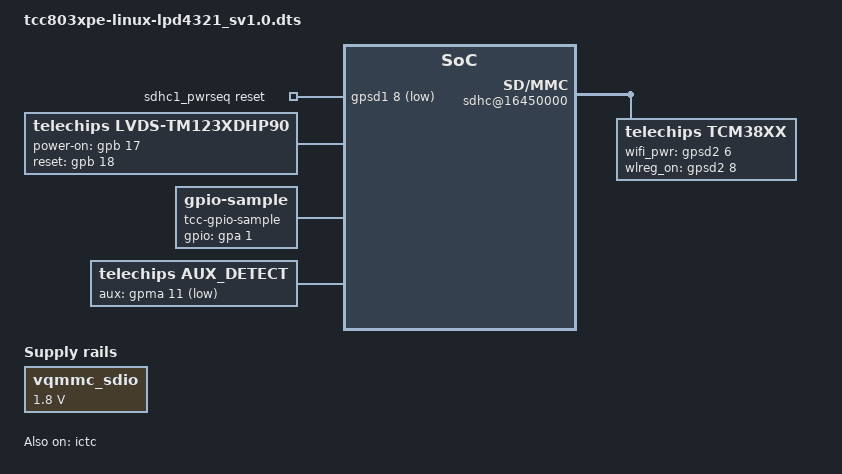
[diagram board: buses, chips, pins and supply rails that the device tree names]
/*
 * Device tree for Telechips TCC8031 AVN board
 *
 * Copyright (C) 2018 Telechips Inc. - http://www.telechips.com
 *
 * This file is dual-licensed: you can use it either under the terms
 * of the GPL or the X11 license, at your option. Note that this dual
 * licensing only applies to this file, and not this project as a
 * whole.
 *
 *  a) This file is free software; you can redistribute it and/or
 *     modify it under the terms of the GNU General Public License as
 *     published by the Free Software Foundation; either version 2 of the
 *     License, or (at your option) any later version.
 *
 *     This file is distributed in the hope that it will be useful,
 *     but WITHOUT ANY WARRANTY; without even the implied warranty of
 *     MERCHANTABILITY or FITNESS FOR A PARTICULAR PURPOSE.  See the
 *     GNU General Public License for more details.
 *
 * Or, alternatively,
 *
 *  b) Permission is hereby granted, free of charge, to any person
 *     obtaining a copy of this software and associated documentation
 *     files (the "Software"), to deal in the Software without
 *     restriction, including without limitation the rights to use,
 *     copy, modify, merge, publish, distribute, sublicense, and/or
 *     sell copies of the Software, and to permit persons to whom the
 *     Software is furnished to do so, subject to the following
 *     conditions:
 *
 *     The above copyright notice and this permission notice shall be
 *     included in all copies or substantial portions of the Software.
 *
 *     THE SOFTWARE IS PROVIDED "AS IS", WITHOUT WARRANTY OF ANY KIND,
 *     EXPRESS OR IMPLIED, INCLUDING BUT NOT LIMITED TO THE WARRANTIES
 *     OF MERCHANTABILITY, FITNESS FOR A PARTICULAR PURPOSE AND
 *     NONINFRINGEMENT. IN NO EVENT SHALL THE AUTHORS OR COPYRIGHT
 *     HOLDERS BE LIABLE FOR ANY CLAIM, DAMAGES OR OTHER LIABILITY,
 *     WHETHER IN AN ACTION OF CONTRACT, TORT OR OTHERWISE, ARISING
 *     FROM, OUT OF OR IN CONNECTION WITH THE SOFTWARE OR THE USE OR
 *     OTHER DEALINGS IN THE SOFTWARE.
 */

/dts-v1/;

#include "tcc803xpe-linux-ivi.dtsi"

/* Definition for H/W LCD ports */
#define LCD_PORT1_PWR "gpa-21"
#define LCD_PORT1_RST "gpg-6"
#define LCD_PORT1_BLK "gph-6"

#define LCD_PORT2_PWR "gpma-28"
#define LCD_PORT2_RST "gpc-12"
#define LCD_PORT2_BLK "gph-7"

#define LCD_PORT4_PWR "gpmc-23"
#define LCD_PORT4_RST "gpmc-25"
#define LCD_PORT4_BLK "gpmc-21"
#include "tcc803xpe-linux-ivi-display.dtsi"

/ {
	/* Describe here after remove this statement if you have something to be override. */
	/* SD CARD */
	sdhc1_pwrseq: sdhc1_pwrseq {
		compatible = "mmc-pwrseq-simple";
		reset-gpios = <&gpsd1 8 GPIO_ACTIVE_LOW>;
	};

	/* SDIO */
	vqmmc_sdio: vqmmc_sdio {
		compatible = "regulator-fixed";
		regulator-name = "vqmmc_sdio";
		regulator-min-microvolt = <1800000>;
		regulator-max-microvolt = <1800000>;
		regulator-always-on;
	};

	sdhc@16450000 {
		//non-removable;
		keep-power-in-suspend;
		cap-sdio-irq;

		vqmmc-supply = <&vqmmc_sdio>;

		cd-force-presence-change;

		tcm38xx {
			compatible = "telechips,tcm38xx";
			wifi_pwr-gpio = <&gpsd2 6 0>; /* BT_WIFI_VBAT_EN */
			wlreg_on-gpio = <&gpsd2 8 0>; /* WIFI_REG_ON */
			//wifi_pwr_1p8v-gpio = <&gpsd1 6 0>;
			//wifi_pwr_3p3v-gpio = <&gpsd1 7 0>;
		};
	};
	sdhc@16460000 {
		broken-cd;
		cd-inverted;
		keep-power-in-suspend;

		wp-gpios = <&gpsd1 7 0>;
		cd-gpios = <&gpsd1 6 0>;

		mmc-pwrseq = <&sdhc1_pwrseq>;
		vqmmc-supply = <&DA9062_LDO4>;
	};

	timer@14300000 {
		/* Timer 0 is used for WIFI LPO */
		tcc-timer-reserved = <0>;
	};

	tm123xdhp90 {
		compatible = "telechips,lvds-tm123xdhp90";
		status = "okay";
		lvds0 = <&lvds_phy>;
		power-on-gpios = <&gpb 17 0>;		// LCD_ON
		reset-gpios = <&gpb 18 0>;		// LCD_RST
		/*
		display-on-gpios = ;		// LCD_DISP
		lvds-stby-gpios = ;		// LCD_DE = LVDS_STBY in LVDS
		lvds-power-gpios = ;		// LVDS_EN
		lvds-power-gpios1 = ;		// V_5V0_EN
		*/
		mode = <1>;		/* 0: single 1: dual */
		ports = <2 3>;

	};

	hdmi640x480tu {
		compatible = "telechips,hdmi640x480tu";
		status = "okay";
	};

	vout_drv@1 {
	    rdma = <&vioc_rdma VIOC_RDMA10>;
	    wmix = <&vioc_wmix VIOC_WMIX2>;
	    disp = <&vioc_disp VIOC_DISP2>;
	    subplane_rdma = <&vioc_rdma VIOC_RDMA09>;
		status = "disabled";
	};

	vioc_mgr0 {
		status = "okay";
	};
	tcc-gpio-sample {
		compatible = "gpio-sample";
		leble = "TCC GPIO";
		/*EDGE_RISING : 0, EDGE_FALLING : 1, EDGE_BOTH : 2,
		LEVEL_HIGH : 3, LEVEL_LOW : 4*/
		irq-type = <2>;
		gpios = <&gpa 1 0>;
	};

#if 1//1:forISDBTApplication
	tcc_vsync_drv {
		compatible = "telechips,tcc_vsync";
		display-vioc0 = <&vioc_disp VIOC_DISP0>;
		display-vioc1 = <&vioc_disp VIOC_DISP1>;
		status = "okay";
	};

	tcc_video_viqe {
		compatible = "telechips,tcc_viqe";

		tcc_viqe_viqe_common {
			telechips,viqe,0 = <&vioc_viqe VIOC_VIQE0>;
			telechips,viqe,1 = <&vioc_viqe VIOC_VIQE1>;
			vioc_deintls = <VIOC_DEINTLS0>;
			board_num=<1>;
		};

		tcc_video_viqe_lcd {
			telechips,wmixer = <&vioc_wmix VIOC_WMIX0>;
			telechips,rdma,60 = <&vioc_rdma VIOC_RDMA03>;
			telechips,disp = <&vioc_disp VIOC_DISP0>;
			telechips,sc = <&vioc_scaler VIOC_SCALER1>;
			viqe_rdma_num_60 = <VIOC_VIQE_RDMA_03>;
			sc_rdma_num_60 = <VIOC_SC_RDMA_03>;
		};

		tcc_video_viqe_external {
			telechips,wmixer = <&vioc_wmix VIOC_WMIX1>;
			telechips,rdma,60 = <&vioc_rdma VIOC_RDMA07>;
			telechips,disp = <&vioc_disp VIOC_DISP1>;
			telechips,sc = <&vioc_scaler VIOC_SCALER1>;
			viqe_rdma_num_60 = <VIOC_VIQE_RDMA_07>;
			sc_rdma_num_60 = <VIOC_SC_RDMA_07>;
		};

		tcc_video_viqe_external_sub {
			telechips,wmixer = <&vioc_wmix VIOC_WMIX1>;
			telechips,rdma,60 = <&vioc_rdma VIOC_RDMA06>;
			telechips,disp = <&vioc_disp VIOC_DISP1>;
			telechips,sc = <&vioc_scaler VIOC_SCALER3>;
			viqe_rdma_num_60 = <VIOC_VIQE_RDMA_06>;
			sc_rdma_num_60 = <VIOC_SC_RDMA_06>;
		};

		tcc_video_main_m2m{
			main_rdma_num_m2m = <VIOC_VIQE_RDMA_14>;
			telechips,main_rdma,m2m = <&vioc_rdma VIOC_RDMA14>;
		};

		tcc_video_sub_m2m {
			sub_rdma_num_m2m = <VIOC_VIQE_RDMA_12>;
			telechips,sub_rdma,m2m = <&vioc_rdma VIOC_RDMA12>;
		};

		tcc_video_scaler_main_m2m {
			clocks = <&clk_ddi DDIBUS_VIOC>;
			m2m_sc_rdma = <&vioc_rdma VIOC_RDMA14>;
			m2m_sc_scaler = <&vioc_scaler VIOC_SCALER1>;
			m2m_sc_wmix = <&vioc_wmix VIOC_WMIX4>;
			m2m_sc_wdma = <&vioc_wdma VIOC_WDMA04>;
			m2m_sc_scaler_path = <VIOC_SC_RDMA_14>;
			m2m_sc_settop_support = <1>;
		};

		tcc_video_scaler_sub_m2m {
			clocks = <&clk_ddi DDIBUS_VIOC>;
			m2m_sc_rdma = <&vioc_rdma VIOC_RDMA12>;
			m2m_sc_scaler = <&vioc_scaler VIOC_SCALER3>;
			m2m_sc_wmix = <&vioc_wmix VIOC_WMIX3>;
			m2m_sc_wdma = <&vioc_wdma VIOC_WDMA03>;
			m2m_sc_scaler_path = <VIOC_SC_RDMA_12>;
			m2m_sc_settop_support = <1>;
		};
	};

	wmixer_drv1: wmixer_drv@1 {
		rdmas = <&vioc_rdma VIOC_RDMA12 VIOC_RDMA13>;
		status = "okay";
	};
#endif
	aux_detect {
		compatible = "telechips,aux_detect";
		status = "okay";
		pinctrl-names = "default";

		pinctrl-0 = <&aux_detect_pin>;
		aux-gpios = <&gpma 11 1>;
		aux-active = <1>;
	};
};

&aux_detect_pin {
	telechips,pins = "gpma-11";
};

&ictc {
	status = "okay";
};
